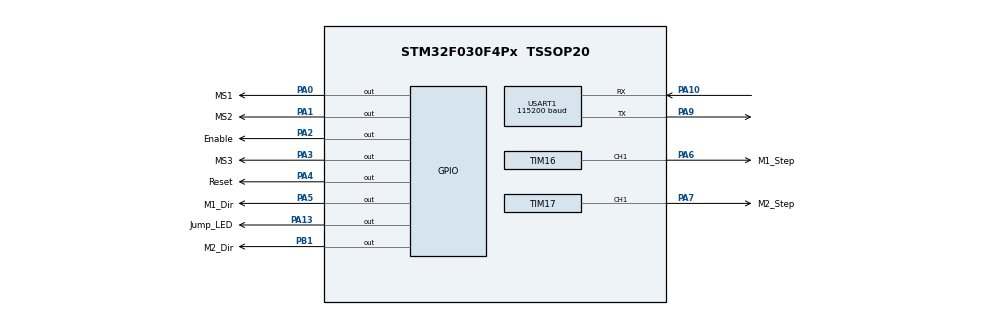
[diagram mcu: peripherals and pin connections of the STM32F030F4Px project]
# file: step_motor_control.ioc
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Mcu.Family=STM32F0
Mcu.Name=STM32F030F4Px
Mcu.Package=TSSOP20
NVIC.TIM16_IRQn=true\:0\:0\:false\:false\:true\:true\:true\:true
NVIC.TIM17_IRQn=true\:0\:0\:false\:false\:true\:true\:true\:true
NVIC.TIM1_CC_IRQn=true\:0\:0\:false\:false\:true\:true\:true\:true
NVIC.TIM3_IRQn=true\:0\:0\:false\:false\:true\:true\:true\:true
NVIC.USART1_IRQn=true\:0\:0\:false\:false\:true\:true\:true\:true
PA0.GPIO_Label=MS1
PA0.GPIO_Speed=GPIO_SPEED_FREQ_LOW
PA0.Signal=GPIO_Output
PA1.GPIO_Label=MS2
PA1.GPIO_Speed=GPIO_SPEED_FREQ_LOW
PA1.Signal=GPIO_Output
PA10.Mode=Asynchronous
PA10.Signal=USART1_RX
PA13.GPIO_Label=Jump_LED
PA13.Signal=GPIO_Output
PA2.GPIO_Label=Enable
PA2.Signal=GPIO_Output
PA3.GPIO_Label=MS3
PA3.Signal=GPIO_Output
PA4.GPIO_Label=Reset
PA4.GPIO_Speed=GPIO_SPEED_FREQ_LOW
PA4.Signal=GPIO_Output
PA5.GPIO_Label=M1_Dir
PA5.GPIO_Speed=GPIO_SPEED_FREQ_HIGH
PA5.Signal=GPIO_Output
PA6.GPIO_Label=M1_Step
PA6.GPIO_Speed=GPIO_SPEED_FREQ_HIGH
PA6.Signal=S_TIM16_CH1
PA7.GPIO_Label=M2_Step
PA7.GPIO_Speed=GPIO_SPEED_FREQ_HIGH
PA7.Signal=S_TIM17_CH1
PA9.Mode=Asynchronous
PA9.Signal=USART1_TX
PB1.GPIO_Label=M2_Dir
PB1.GPIO_Speed=GPIO_SPEED_FREQ_HIGH
PB1.Signal=GPIO_Output
PF0-OSC_IN.Mode=HSE-External-Oscillator
PF0-OSC_IN.Signal=RCC_OSC_IN
PF1-OSC_OUT.Mode=HSE-External-Oscillator
PF1-OSC_OUT.Signal=RCC_OSC_OUT
ProjectManager.HeapSize=0x200
ProjectManager.StackSize=0x400
ProjectManager.TargetToolchain=STM32CubeIDE
RCC.AHBFreq_Value=40000000
RCC.APB1Freq_Value=40000000
RCC.APB1TimFreq_Value=40000000
RCC.HCLKFreq_Value=40000000
RCC.PLLMUL=RCC_PLL_MUL5
RCC.PLLSourceVirtual=RCC_PLLSOURCE_HSE
RCC.SYSCLKFreq_VALUE=40000000
RCC.SYSCLKSource=RCC_SYSCLKSOURCE_PLLCLK
SH.S_TIM16_CH1.0=TIM16_CH1,PWM Generation1 CH1
SH.S_TIM17_CH1.0=TIM17_CH1,PWM Generation1 CH1
TIM16.AutoReloadPreload=TIM_AUTORELOAD_PRELOAD_ENABLE
TIM16.Channel=TIM_CHANNEL_1
TIM16.Period=65000
TIM16.Prescaler=39
TIM16.Pulse=1
TIM17.AutoReloadPreload=TIM_AUTORELOAD_PRELOAD_ENABLE
TIM17.Channel=TIM_CHANNEL_1
TIM17.Period=65000
TIM17.Prescaler=39
TIM17.Pulse=1
USART1.BaudRate=115200
USART1.VirtualMode-Asynchronous=VM_ASYNC
VP_TIM16_VS_ClockSourceINT.Mode=Enable_Timer
VP_TIM17_VS_ClockSourceINT.Mode=Enable_Timer
VP_TIM1_VS_ClockSourceINT.Mode=Internal
VP_TIM3_VS_ClockSourceINT.Mode=Internal
board=custom

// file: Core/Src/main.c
/* USER CODE BEGIN Header */
/**
  ******************************************************************************
  * @file           : main.c
  * @brief          : Main program body
  ******************************************************************************
  * @attention
  *
  * Copyright (c) 2026 STMicroelectronics.
  * All rights reserved.
  *
  * This software is licensed under terms that can be found in the LICENSE file
  * in the root directory of this software component.
  * If no LICENSE file comes with this software, it is provided AS-IS.
  *
  ******************************************************************************
  */

/*
 * USART SERIAL SPEED 115kbps
 *
 *
 *
 *
 *
 */

/* USER CODE END Header */
#include "main.h"
#include "tim.h"
#include "usart.h"
#include "gpio.h"

/* USER CODE BEGIN Includes */
#include "stdio.h"
#include "math.h"
#include "string.h"
#include <ctype.h>
#include "special.h"

/* USER CODE END Includes */

/* USER CODE BEGIN PTD */

relay_st relay;
bit_state_st enable_driver;
step_config_st step_config;  //DONE
dir_status_st motor_direction; //DONE

extern volatile uint8_t rx_line_ready;

char *str_cmd[QTY_CMD] = CMD_DEFINITION;
extern char rx_buffer[RX_BUFFER_SIZE];

/* USER CODE END PTD */

void SystemClock_Config(void);

/* USER CODE BEGIN 0 */

void cmd_analise_task(void){

	if (rx_line_ready) {
	    rx_line_ready = 0;
	    char fallback_id[5] = "0000";
	    uint8_t has_fallback_id = 1U;
	    for (uint8_t i = 0U; i < 4U; ++i) {
	        if (!isalnum((unsigned char)rx_buffer[i])) {
	            has_fallback_id = 0U;
	            break;
	        }
	        fallback_id[i] = rx_buffer[i];
	    }

	    if (!has_fallback_id) {
	    	strcpy(fallback_id, "0000");
	    }

	    cmd_t cmd = parse_line((char*)rx_buffer);
	    if (cmd.valid){
	        apply_cmd(&cmd);
	        if (cmd.has_id) {
	            printf("%s1\n\r", cmd.cmd_id);
	        } else {
	            printf("%s1\n\r", fallback_id);
	        }
		} else {
	        printf("%s0\n\r", fallback_id);
	    }
		}

}

void timer16_init(void){

	//for microstep 1/16 use 500us = 37.5rpm
	//for fullstep 1/1 use   8ms = 37.5rpm, maximum 1500us for 200rpm

	LL_TIM_SetCounter(TIM16, 0);
	LL_TIM_SetAutoReload(TIM16,9 ); //9=10us ate 40.01ms
	LL_TIM_OC_SetCompareCH1(TIM16, 1);

	LL_TIM_EnableAllOutputs(TIM16);               // importante no TIM16
	LL_TIM_CC_EnableChannel(TIM16, LL_TIM_CHANNEL_CH1);
	LL_TIM_EnableCounter(TIM16);
	LL_TIM_GenerateEvent_UPDATE(TIM16);

}

void timer17_init(void){

	//for microstep 1/16 use 500us = 37.5rpm
	//for fullstep 1/1 use   8ms = 37.5rpm, maximum 1500us for 200rpm

	LL_TIM_SetCounter(TIM17, 0);
	LL_TIM_SetAutoReload(TIM17,9 ); //9=10us ate 40.01ms
	LL_TIM_OC_SetCompareCH1(TIM17, 1);

	LL_TIM_EnableAllOutputs(TIM17);               // importante no TIM16
	LL_TIM_CC_EnableChannel(TIM17, LL_TIM_CHANNEL_CH1);
	LL_TIM_EnableCounter(TIM17);
	LL_TIM_GenerateEvent_UPDATE(TIM17);

}

void test_motors(void){

	  uint8_t i=0;
	  uint8_t lado_giro=LEFT;

	  while(1){
	  i++;
	  if (i>=200){
		  if(lado_giro==LEFT){
			  	  	  	  	   motor_direction=motor_dir(MOTOR_X, RIGHT);
		                       motor_direction=motor_dir(MOTOR_Y, RIGHT);
		                       lado_giro=RIGHT;
		                       Motor_SetRPM(MOTOR_X,200.0);
		                       Motor_SetRPM(MOTOR_Y,200.0);

		    }else  if(lado_giro==RIGHT){
		    					motor_direction=motor_dir(MOTOR_X, LEFT);
		                        motor_direction=motor_dir(MOTOR_Y, LEFT);
		                        lado_giro=LEFT;
		                        Motor_SetRPM(MOTOR_X,200.0);
		                        Motor_SetRPM(MOTOR_Y,200.0);
		           }
		  i=0;
	  }

	   LL_mDelay(2);
	  }

}

/* USER CODE END 0 */

int main(void)
{

  /* MCU Configuration--------------------------------------------------------*/

  /* Reset of all peripherals, Initializes the Flash interface and the Systick. */
  LL_APB1_GRP2_EnableClock(LL_APB1_GRP2_PERIPH_SYSCFG);
  LL_APB1_GRP1_EnableClock(LL_APB1_GRP1_PERIPH_PWR);

  /* SysTick_IRQn interrupt configuration */
  NVIC_SetPriority(SysTick_IRQn, 3);

  /* Configure the system clock */
  SystemClock_Config();

  /* Initialize all configured peripherals */
  MX_GPIO_Init();
  MX_TIM1_Init();
  MX_TIM3_Init();
  MX_USART1_UART_Init();
  MX_TIM16_Init();
  MX_TIM17_Init();
  /* USER CODE BEGIN 2 */

  timer16_init();
  timer17_init();

  printf("\n\r\n\r<Ready>\n\r");

  printf("COMMANDS\n\r");
  printf("FRAME: IIII <CMD> *C <CR/LF>\n\r");
  printf("IIII = 4 chars [A-Z0-9], C = checksum (sum ASCII of 'IIII <CMD>' modulo 10)\n\r");
  printf("Resposta: IIII1 (ok) ou IIII0 (erro de formato/comando/checksum)\n\r");
  printf("EXEMPLOS COM CRC CORRETO:\n\r");
  printf("AB12 S 1*1\n\r");
  printf("AB12 S 16*5\n\r");
  printf("AB12 V 100 -120*5\n\r");
  printf("AB12 R 5 5 5*6\n\r");
  printf("S 1  <cr> = STEP_FULL\n\r");
  printf("S 16 <cr> = STEP_SIXTEENTH\n\r");
  printf("V 100 -120 <cr> = MOTOR X RIGHT DIRECTION 100rpm and MOTOR Y LEFT DIRECTION 120rpm\n\r");
  printf("R 5 5 5 <cr> = CONFIG RAMP period_ms accel_step decel_step\n\r");

  relay=relay_on_off(POWER_OFF);

  step_config=step_configuration(STEP_FULL);
  reset_driver();                       //PA13

  /* USER CODE END 2 */

  /* Infinite loop */
  while (1)
  {

    /* USER CODE BEGIN 3 */
	  LL_mDelay(2);
	  cmd_analise_task(); //verify input commands
	  Motor_RampTask_10ms();
	  //test_motors();
  }
  /* USER CODE END 3 */
}

void SystemClock_Config(void)
{
  LL_FLASH_SetLatency(LL_FLASH_LATENCY_1);
  while(LL_FLASH_GetLatency() != LL_FLASH_LATENCY_1)
  {
  }
  LL_RCC_HSE_Enable();

   /* Wait till HSE is ready */
  while(LL_RCC_HSE_IsReady() != 1)
  {

  }
  LL_RCC_PLL_ConfigDomain_SYS(LL_RCC_PLLSOURCE_HSE_DIV_1, LL_RCC_PLL_MUL_5);
  LL_RCC_PLL_Enable();

   /* Wait till PLL is ready */
  while(LL_RCC_PLL_IsReady() != 1)
  {

  }
  LL_RCC_SetAHBPrescaler(LL_RCC_SYSCLK_DIV_1);
  LL_RCC_SetAPB1Prescaler(LL_RCC_APB1_DIV_1);
  LL_RCC_SetSysClkSource(LL_RCC_SYS_CLKSOURCE_PLL);

   /* Wait till System clock is ready */
  while(LL_RCC_GetSysClkSource() != LL_RCC_SYS_CLKSOURCE_STATUS_PLL)
  {

  }
  LL_Init1msTick(40000000);
  LL_SetSystemCoreClock(40000000);
  LL_RCC_SetUSARTClockSource(LL_RCC_USART1_CLKSOURCE_PCLK1);
}

void Error_Handler(void)
{
  __disable_irq();
  while (1)
  {
  }
}
